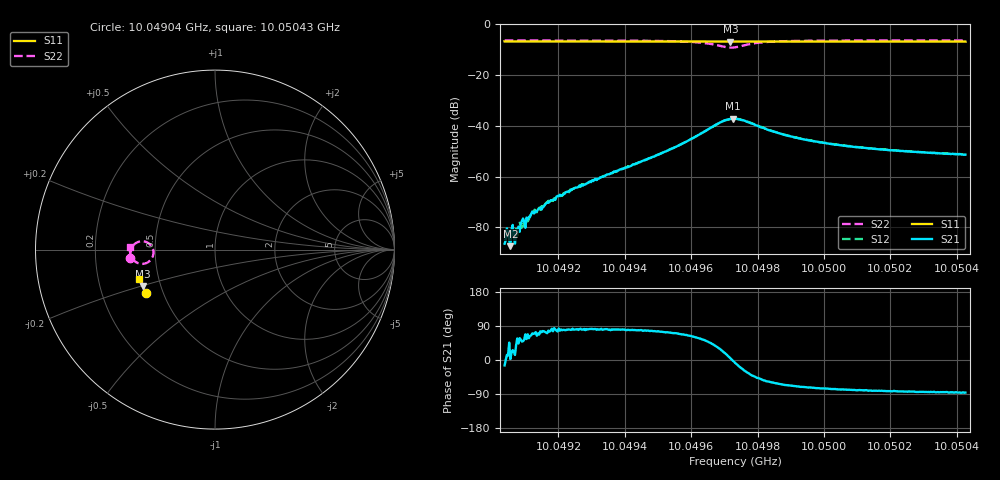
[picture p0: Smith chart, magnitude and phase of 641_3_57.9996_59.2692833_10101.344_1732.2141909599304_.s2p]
#  HZ  S  RI  R  50.00
! Rohde & Schwarz Vector Network Analyzer
! Rohde-Schwarz,ZNB20-2Port,1311601062101988,3.16
! Created: UTC 3/21/2024, 1:19:03 AM
! freq[Hz]  re:S11  im:S11  re:S21  im:S21  re:S12  im:S12  re:S22  im:S22
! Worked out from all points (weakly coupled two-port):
!   401 points, 10.04904 GHz to 10.05043 GHz, reference 50 ohm
!   highest |S21| = -37.21 dB at 10.04972 GHz (marker M1); lowest = -87.4 dB at 10.04905 GHz (marker M2)
!   lowest |S11| = -6.9 dB at 10.04972 GHz (marker M3), VSWR 2.65, Z = 19.8 - j10.1 ohm
!   |S11| at or under -10 dB: nowhere
!   |S22| runs from -9.3 to -6.5 dB; largest |S21 - S12| = 0.0011
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1.0049038e10  -0.384 -0.2439  4.64e-05 -1.19e-05  5.24e-05 -2.08e-05  -0.4733 -0.0466
1.0049055e10  -0.3846 -0.2429  4.27e-05 1.75e-06  7.88e-05 3.04e-05  -0.4733 -0.0453
1.0049076e10  -0.3854 -0.2415  4.6e-05 7.05e-05  4.84e-05 3.91e-05  -0.4734 -0.0433
1.004909e10  -0.3857 -0.2408  8.81e-05 0.000101  3.99e-05 8.98e-05  -0.4733 -0.0422
1.0049104e10  -0.3862 -0.24  8.89e-05 0.000128  5.35e-05 0.000123  -0.4734 -0.041
1.0049121e10  -0.3868 -0.2391  6.99e-05 0.000193  3.79e-05 0.00018  -0.4735 -0.0395
1.004917e10  -0.3885 -0.2362  6.68e-05 0.000299  5.52e-05 0.000329  -0.4735 -0.035
1.0049201e10  -0.3894 -0.2345  5.02e-05 0.000407  3.31e-05 0.000387  -0.4733 -0.032
1.004927e10  -0.3917 -0.2303  0.000119 0.000668  6.24e-05 0.000706  -0.4731 -0.025
1.0049503e10  -0.3989 -0.2168  0.000692 0.00265  0.000566 0.00269  -0.4647 0.00854
1.0049572e10  -0.4009 -0.2124  0.00169 0.00407  0.0014 0.00421  -0.4533 0.0256
1.0049662e10  -0.4029 -0.2069  0.00691 0.00641  0.00647 0.00683  -0.3993 0.0463
1.0049694e10  -0.4033 -0.205  0.0111 0.00489  0.0108 0.00559  -0.3615 0.0284
1.0049718e10  -0.4036 -0.2038  0.0136 0.00109  0.0133 0.00202  -0.3431 -0.0103
1.0049725e10  -0.4037 -0.2037  0.0138 -0.000357  0.0137 0.000591  -0.3432 -0.0234
1.0049732e10  -0.404 -0.2035  0.0135 -0.00175  0.0136 -0.000723  -0.346 -0.0361
1.0049767e10  -0.4052 -0.2019  0.0103 -0.00634  0.0108 -0.00568  -0.3839 -0.0757
1.0049819e10  -0.407 -0.1989  0.00529 -0.00732  0.00582 -0.00701  -0.4337 -0.0736
1.0049881e10  -0.409 -0.1952  0.00271 -0.00602  0.00316 -0.00589  -0.4573 -0.0544
1.0049964e10  -0.4114 -0.1901  0.00145 -0.00481  0.00177 -0.00478  -0.4683 -0.0353
1.0050197e10  -0.4174 -0.1759  0.000456 -0.00328  0.000682 -0.0033  -0.4747 -0.00376
1.0050426e10  -0.4227 -0.1619  0.00019 -0.00269  0.000319 -0.0027  -0.4753 0.0172
